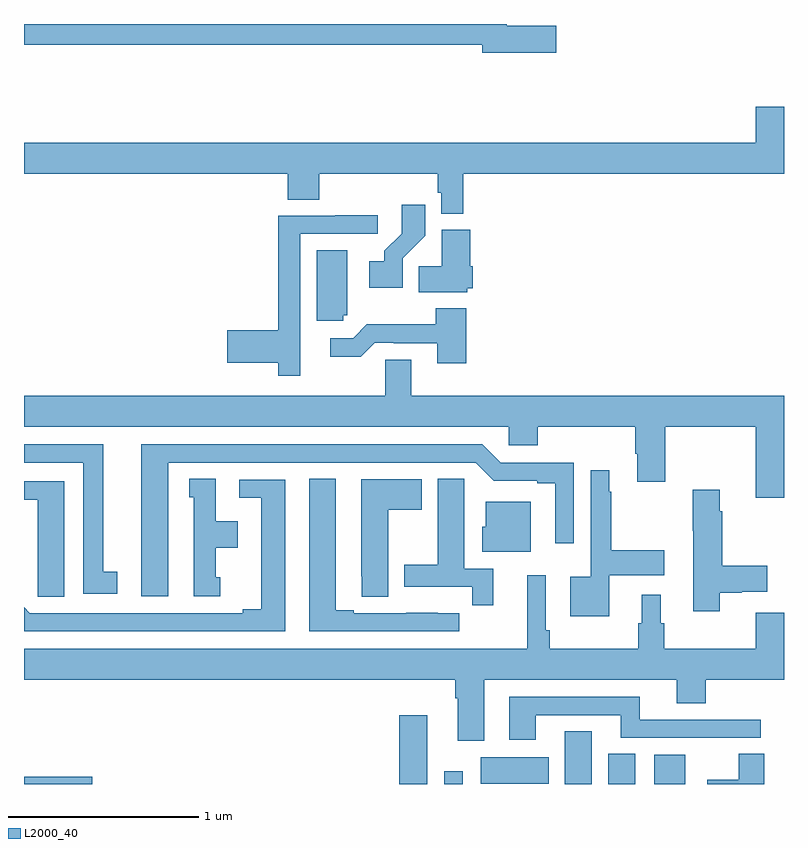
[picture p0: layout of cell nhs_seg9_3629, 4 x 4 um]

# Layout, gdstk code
import gdstk
lib = gdstk.Library(unit=1e-6, precision=1e-09)
def R(c, l, rs):  # rectangles x0, y0, x1, y1
    for r in rs: c.add(gdstk.rectangle(r[:2], r[2:], *l))
def P(c, l, *ps):  # polygons
    for p in ps: c.add(gdstk.Polygon(p, *l))
L2000_40 = (2000, 40)

nhs_seg9_3629 = lib.new_cell('nhs_seg9_3629')
R(nhs_seg9_3629, L2000_40, [(317,1234.5,317.359,1234.538), (318.974,1234.5,319.123,1234.861), (319.212,1234.5,319.308,1234.567), (319.847,1234.5,319.987,1234.778), (320.075,1234.5,320.218,1234.658), (320.318,1234.5,320.479,1234.654), (319.404,1234.502,319.762,1234.642)])
P(nhs_seg9_3629, L2000_40, [(319.801,1238.492),(319.54,1238.492),(319.54,1238.5),(317,1238.5),(317,1238.392),(319.412,1238.392),(319.412,1238.35),(319.801,1238.35)],
  [(319.313,1237.712),(321,1237.712),(321,1238.065),(320.852,1238.065),(320.852,1237.876),(317,1237.876),(317,1237.712),(318.389,1237.712),(318.389,1237.576),(318.554,1237.576),(318.554,1237.712),(319.177,1237.712),(319.177,1237.611),(319.197,1237.611),(319.197,1237.502),(319.313,1237.502)],
  [(318.993,1237.267),(319.112,1237.386),(319.112,1237.549),(318.987,1237.549),(318.987,1237.397),(318.896,1237.307),(318.896,1237.252),(318.816,1237.252),(318.816,1237.112),(318.993,1237.112)],
  [(318.454,1236.87),(318.453,1236.87),(318.453,1237.395),(318.862,1237.395),(318.862,1237.494),(318.637,1237.494),(318.637,1237.491),(318.337,1237.491),(318.337,1236.887),(318.069,1236.887),(318.069,1236.716),(318.337,1236.716),(318.337,1236.648),(318.454,1236.648)],
  [(319.332,1237.11),(319.361,1237.11),(319.361,1237.224),(319.349,1237.224),(319.349,1237.417),(319.199,1237.417),(319.199,1237.226),(319.078,1237.226),(319.078,1237.088),(319.332,1237.088)],
  [(318.681,1236.966),(318.7,1236.966),(318.7,1237.31),(318.542,1237.31),(318.542,1236.939),(318.681,1236.939)],
  [(319.328,1237.003),(319.168,1237.003),(319.168,1236.919),(318.805,1236.919),(318.732,1236.846),(318.612,1236.846),(318.612,1236.749),(318.773,1236.749),(318.846,1236.822),(318.946,1236.822),(318.946,1236.819),(319.175,1236.819),(319.175,1236.714),(319.328,1236.714)],
  [(321,1236.544),(319.039,1236.544),(319.039,1236.734),(318.9,1236.734),(318.9,1236.544),(317,1236.544),(317,1236.38),(319.551,1236.38),(319.551,1236.282),(319.703,1236.282),(319.703,1236.38),(320.216,1236.38),(320.216,1236.238),(320.228,1236.238),(320.228,1236.09),(320.376,1236.09),(320.376,1236.38),(320.852,1236.38),(320.852,1236.006),(321,1236.006)],
  [(317.758,1236.192),(319.377,1236.192),(319.473,1236.096),(319.7,1236.096),(319.7,1236.084),(319.796,1236.084),(319.796,1235.766),(319.893,1235.766),(319.893,1236.192),(319.509,1236.192),(319.413,1236.288),(317.618,1236.288),(317.618,1235.487),(317.758,1235.487)],
  [(317.491,1235.618),(317.416,1235.618),(317.416,1236.288),(317,1236.288),(317,1236.192),(317.312,1236.192),(317.312,1235.502),(317.491,1235.502)],
  [(320.08,1235.6),(320.371,1235.6),(320.371,1235.73),(320.092,1235.73),(320.092,1236.038),(320.08,1236.038),(320.08,1236.151),(319.983,1236.151),(319.983,1235.59),(319.874,1235.59),(319.874,1235.384),(320.08,1235.384)],
  [(319.291,1235.4),(319.178,1235.4),(319.178,1235.401),(319.012,1235.401),(319.012,1235.4),(318.736,1235.4),(318.736,1235.415),(318.64,1235.415),(318.64,1236.107),(318.5,1236.107),(318.5,1235.304),(319.291,1235.304)],
  [(319.469,1235.634),(319.318,1235.634),(319.318,1235.996),(319.317,1235.996),(319.317,1236.107),(319.178,1236.107),(319.178,1235.655),(319.001,1235.655),(319.001,1235.538),(319.36,1235.538),(319.36,1235.442),(319.469,1235.442)],
  [(318.034,1235.589),(318.01,1235.589),(318.01,1235.744),(318.124,1235.744),(318.124,1235.884),(318.01,1235.884),(318.01,1236.107),(317.87,1236.107),(317.87,1236.009),(317.894,1236.009),(317.894,1235.487),(318.034,1235.487)],
  [(318.916,1235.944),(319.093,1235.944),(319.093,1236.103),(318.776,1236.103),(318.776,1235.593),(318.777,1235.593),(318.777,1235.485),(318.916,1235.485)],
  [(318.376,1236.102),(318.132,1236.102),(318.132,1236.006),(318.248,1236.006),(318.248,1235.42),(318.152,1235.42),(318.152,1235.4),(317.031,1235.4),(317,1235.431),(317,1235.304),(318.376,1235.304)],
  [(317.212,1236.093),(317,1236.093),(317,1235.996),(317.072,1235.996),(317.072,1235.593),(317.073,1235.593),(317.073,1235.485),(317.212,1235.485)],
  [(320.662,1235.506),(320.778,1235.506),(320.778,1235.513),(320.911,1235.513),(320.911,1235.648),(320.675,1235.648),(320.675,1235.936),(320.662,1235.936),(320.662,1236.049),(320.521,1236.049),(320.521,1235.834),(320.522,1235.834),(320.522,1235.408),(320.662,1235.408)],
  [(319.666,1235.986),(319.43,1235.986),(319.43,1235.853),(319.412,1235.853),(319.412,1235.723),(319.666,1235.723)],
  [(320.369,1235.346),(320.35,1235.346),(320.35,1235.497),(320.252,1235.497),(320.252,1235.346),(320.233,1235.346),(320.233,1235.212),(319.766,1235.212),(319.766,1235.308),(319.746,1235.308),(319.746,1235.599),(319.649,1235.599),(319.649,1235.212),(317,1235.212),(317,1235.048),(319.271,1235.048),(319.271,1234.952),(319.283,1234.952),(319.283,1234.728),(319.423,1234.728),(319.423,1235.048),(320.435,1235.048),(320.435,1234.924),(320.588,1234.924),(320.588,1235.048),(321,1235.048),(321,1235.401),(320.852,1235.401),(320.852,1235.212),(320.369,1235.212)],
  [(319.693,1234.863),(320.141,1234.863),(320.141,1234.743),(320.878,1234.743),(320.878,1234.839),(320.24,1234.839),(320.24,1234.959),(319.553,1234.959),(319.553,1234.734),(319.693,1234.734)],
  [(320.897,1234.658),(320.762,1234.658),(320.762,1234.522),(320.597,1234.522),(320.597,1234.5),(320.897,1234.5)])

lib.write_gds('nhs_seg9_3629.gds')
